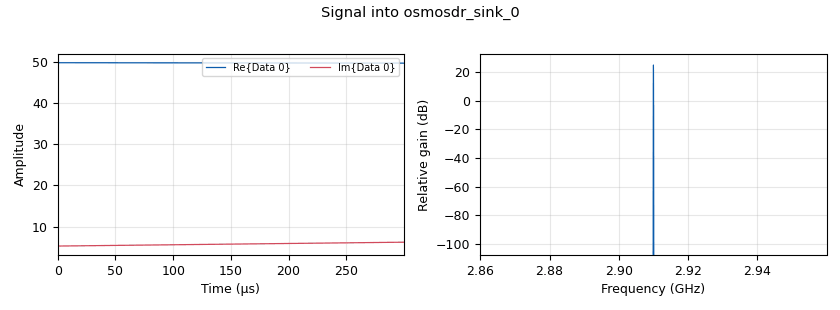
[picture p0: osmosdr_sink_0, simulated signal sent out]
<?xml version='1.0' encoding='utf-8'?>
<?grc format='1' created='3.7.11'?>
<flow_graph>
<block>
<key>options</key>
<param><key>id</key><value>top_block</value></param>
<param><key>generate_options</key><value>qt_gui</value></param>
</block>
<block>
<key>variable</key>
<param><key>id</key><value>amp</value></param>
<param><key>value</key><value>50</value></param>
</block>
<block>
<key>variable</key>
<param><key>id</key><value>samp_rate</value></param>
<param><key>value</key><value>100e6</value></param>
</block>
<block>
<key>variable</key>
<param><key>id</key><value>transmission_frequency</value></param>
<param><key>value</key><value>2910e6</value></param>
</block>
<block>
<key>blocks_add_xx</key>
<param><key>id</key><value>blocks_add_xx_0</value></param>
<param><key>_enabled</key><value>0</value></param>
<param><key>type</key><value>complex</value></param>
</block>
<block>
<key>blocks_add_xx</key>
<param><key>id</key><value>blocks_add_xx_0_0</value></param>
<param><key>_enabled</key><value>0</value></param>
<param><key>type</key><value>complex</value></param>
</block>
<block>
<key>blocks_add_xx</key>
<param><key>id</key><value>blocks_add_xx_1</value></param>
<param><key>_enabled</key><value>0</value></param>
<param><key>type</key><value>complex</value></param>
</block>
<block>
<key>analog_sig_source_x</key>
<param><key>id</key><value>dover</value></param>
<param><key>amp</key><value>amp</value></param>
<param><key>_enabled</key><value>0</value></param>
<param><key>freq</key><value>-30e6</value></param>
<param><key>offset</key><value>0</value></param>
<param><key>type</key><value>complex</value></param>
<param><key>samp_rate</key><value>samp_rate</value></param>
<param><key>waveform</key><value>analog.GR_COS_WAVE</value></param>
</block>
<block>
<key>osmosdr_sink</key>
<param><key>id</key><value>osmosdr_sink_0</value></param>
<param><key>bb_gain0</key><value>20</value></param>
<param><key>bw0</key><value>10000000</value></param>
<param><key>freq0</key><value>transmission_frequency</value></param>
<param><key>if_gain0</key><value>20</value></param>
<param><key>gain0</key><value>20</value></param>
<param><key>args</key><value></value></param>
<param><key>type</key><value>fc32</value></param>
<param><key>sample_rate</key><value>samp_rate</value></param>
</block>
<block>
<key>analog_sig_source_x</key>
<param><key>id</key><value>philadelphia</value></param>
<param><key>amp</key><value>amp</value></param>
<param><key>_enabled</key><value>0</value></param>
<param><key>freq</key><value>-35e6</value></param>
<param><key>offset</key><value>0</value></param>
<param><key>type</key><value>complex</value></param>
<param><key>samp_rate</key><value>samp_rate</value></param>
<param><key>waveform</key><value>analog.GR_COS_WAVE</value></param>
</block>
<block>
<key>qtgui_freq_sink_x</key>
<param><key>id</key><value>qtgui_freq_sink_x_0</value></param>
<param><key>bw</key><value>samp_rate</value></param>
<param><key>fc</key><value>transmission_frequency</value></param>
<param><key>fftsize</key><value>16383</value></param>
<param><key>showports</key><value>True</value></param>
<param><key>type</key><value>complex</value></param>
<param><key>wintype</key><value>firdes.WIN_BLACKMAN_hARRIS</value></param>
</block>
<block>
<key>analog_sig_source_x</key>
<param><key>id</key><value>richmond</value></param>
<param><key>amp</key><value>amp</value></param>
<param><key>freq</key><value>10</value></param>
<param><key>offset</key><value>0</value></param>
<param><key>type</key><value>complex</value></param>
<param><key>samp_rate</key><value>samp_rate</value></param>
<param><key>waveform</key><value>analog.GR_COS_WAVE</value></param>
</block>
<block>
<key>analog_sig_source_x</key>
<param><key>id</key><value>sterling</value></param>
<param><key>amp</key><value>amp</value></param>
<param><key>_enabled</key><value>0</value></param>
<param><key>freq</key><value>45e6</value></param>
<param><key>offset</key><value>0</value></param>
<param><key>type</key><value>complex</value></param>
<param><key>samp_rate</key><value>samp_rate</value></param>
<param><key>waveform</key><value>analog.GR_COS_WAVE</value></param>
</block>
<connection><source_block_id>blocks_add_xx_0</source_block_id><sink_block_id>blocks_add_xx_1</sink_block_id><source_key>0</source_key><sink_key>0</sink_key></connection>
<connection><source_block_id>blocks_add_xx_0_0</source_block_id><sink_block_id>blocks_add_xx_1</sink_block_id><source_key>0</source_key><sink_key>1</sink_key></connection>
<connection><source_block_id>blocks_add_xx_1</source_block_id><sink_block_id>osmosdr_sink_0</sink_block_id><source_key>0</source_key><sink_key>0</sink_key></connection>
<connection><source_block_id>blocks_add_xx_1</source_block_id><sink_block_id>qtgui_freq_sink_x_0</sink_block_id><source_key>0</source_key><sink_key>0</sink_key></connection>
<connection><source_block_id>dover</source_block_id><sink_block_id>blocks_add_xx_0_0</sink_block_id><source_key>0</source_key><sink_key>0</sink_key></connection>
<connection><source_block_id>philadelphia</source_block_id><sink_block_id>blocks_add_xx_0</sink_block_id><source_key>0</source_key><sink_key>1</sink_key></connection>
<connection><source_block_id>richmond</source_block_id><sink_block_id>blocks_add_xx_0</sink_block_id><source_key>0</source_key><sink_key>0</sink_key></connection>
<connection><source_block_id>richmond</source_block_id><sink_block_id>osmosdr_sink_0</sink_block_id><source_key>0</source_key><sink_key>0</sink_key></connection>
<connection><source_block_id>sterling</source_block_id><sink_block_id>blocks_add_xx_0_0</sink_block_id><source_key>0</source_key><sink_key>1</sink_key></connection>
</flow_graph>
